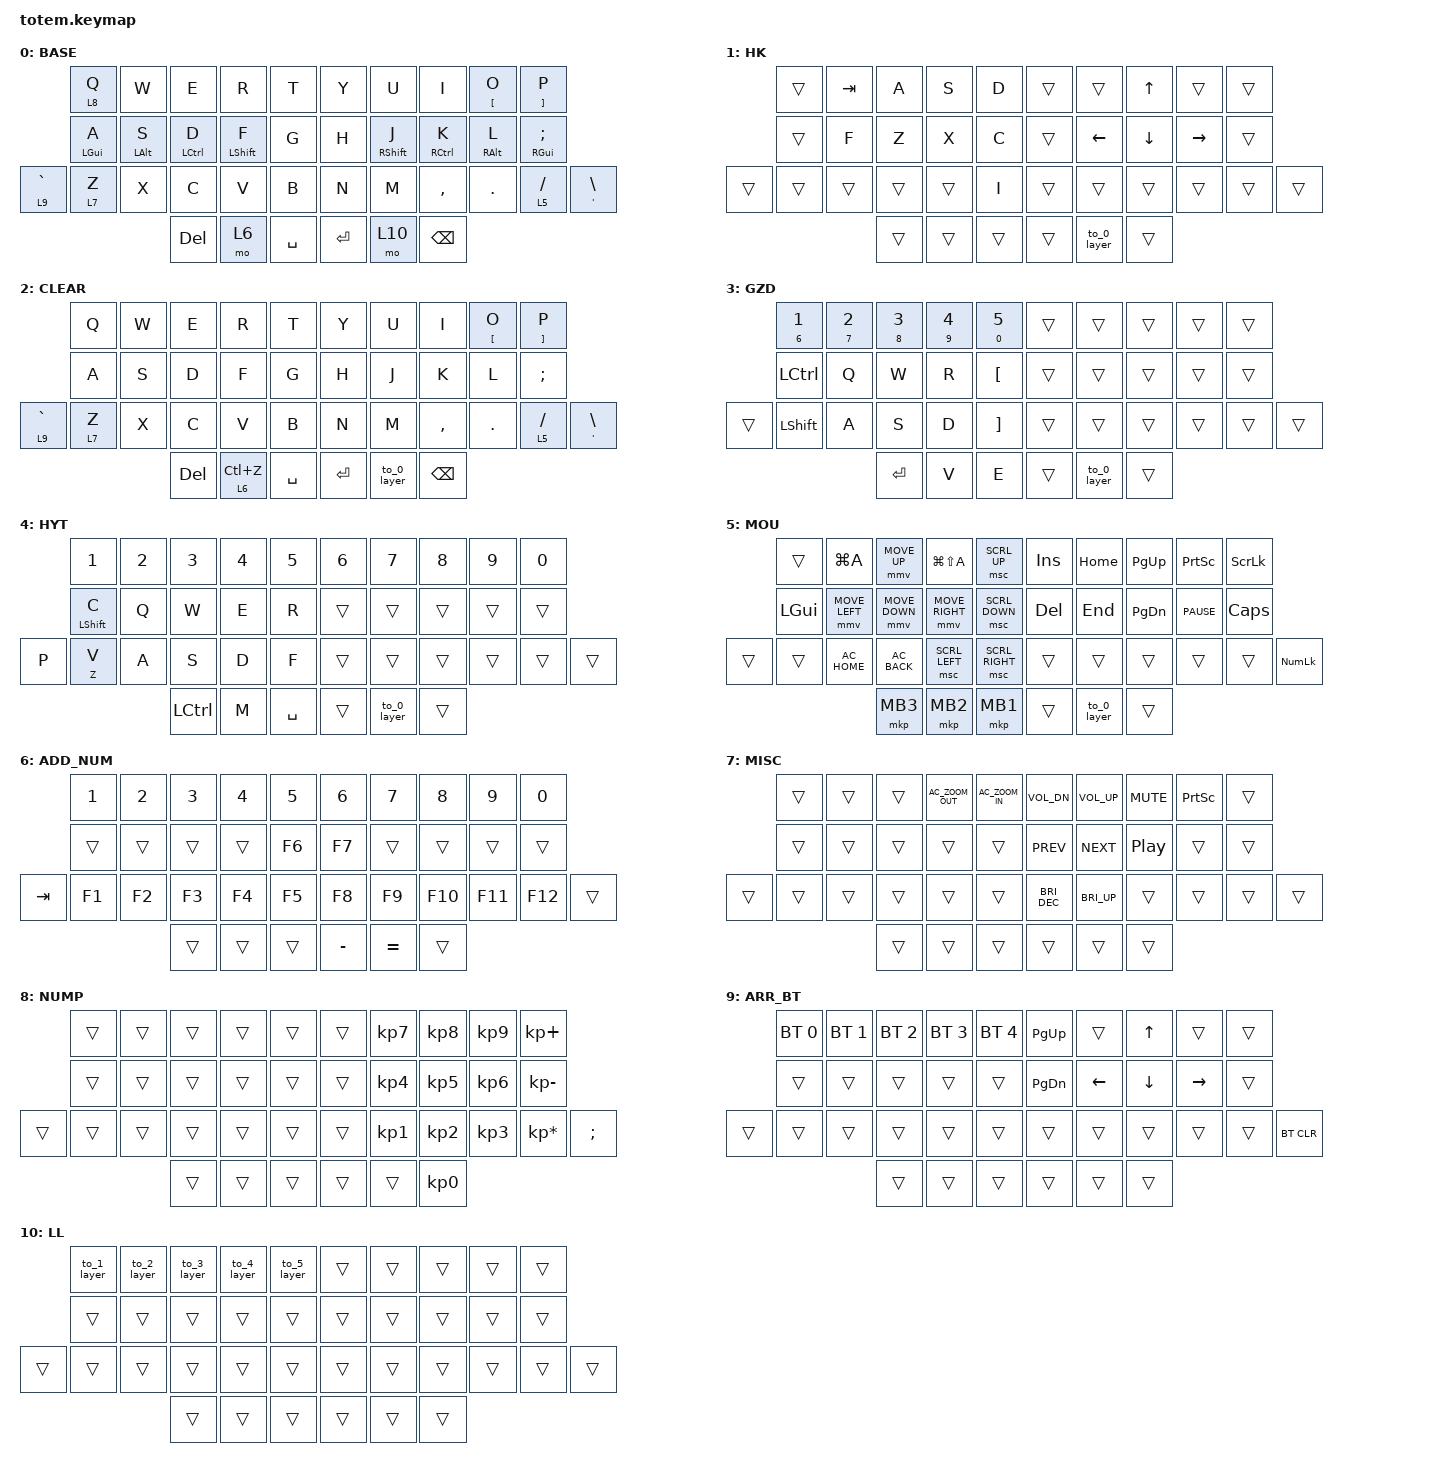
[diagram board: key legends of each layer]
//
//                                                        ▀▀▀▀▀     ▀▀▀▀▀          ▀▀█▀▀
//                                                        ▄▀▀▀▄  ▄  ▄▀▀▀▄  ▄  ▄▀▀▀▄  █  ▄▀▀▀▄
//                                                        █   █  █  █   █  █  █   █  █  █   █
//                                                         ▀▀▀   █   ▀▀▀   █   ▀▀▀   ▀   ▀▀▀
//                                                               █      ▄▄▄█▄▄▄    █   █  
//                                                               ▀      █  █  █     █▄█
//                                                             ▀▀▀▀▀    █  █  █      ▀
//                                                                      ▀  ▀  ▀
//
// ▄▄▄▄▄▄▄▄▄▄▄▄▄▄▄▄▄▄▄▄▄▄▄▄▄▄▄▄▄▄▄▄▄▄▄▄▄▄▄▄▄▄▄▄▄▄▄▄▄▄▄▄▄▄▄▄▄▄▄▄▄▄▄▄▄▄▄▄▄▄▄▄▄▄▄▄▄▄▄▄▄▄▄▄▄▄▄▄▄▄▄▄▄▄▄▄▄▄▄▄▄▄▄▄▄▄▄▄▄▄▄▄▄▄▄▄▄▄▄▄▄▄▄▄▄▄▄▄▄▄▄▄▄▄▄▄▄▄▄▄▄▄▄▄▄▄▄▄▄

#include <behaviors.dtsi>
#include <dt-bindings/zmk/bt.h>
#include <dt-bindings/zmk/keys.h>
#include <dt-bindings/zmk/pointing.h>

#define BASE 0
#define NAV  1
#define SYM  2
#define ADJ  3
#define TVP1 4
#define TVP2 5

&mt {
    quick-tap-ms = <100>;
    global-quick-tap;
    flavor = "tap-preferred";
    tapping-term-ms = <170>;
};

/ {
    combos {
        compatible = "zmk,combos";

        combo_esc {
            timeout-ms = <50>;
            key-positions = <0 1>;
            bindings = <&kp ESC>;
        };

        combo_tvp {
            timeout-ms = <100>;
            key-positions = <11 12 13>;
            bindings = <&to_0_layer>;
        };

        cmb-tab {
            bindings = <&kp TAB>;
            key-positions = <20 10>;
        };

        cmb_- {
            bindings = <&kp MINUS>;
            key-positions = <8 9>;
        };
    };

    macros {
        to_0_layer: to_0_layer {
            compatible = "zmk,behavior-macro";
            #binding-cells = <0>;
            bindings = <&kp LG(F13) &to 0>;
        };

        to_1_layer: to_1_layer {
            compatible = "zmk,behavior-macro";
            #binding-cells = <0>;
            bindings = <&kp LG(F14) &to 1>;
        };

        to_2_layer: to_2_layer {
            compatible = "zmk,behavior-macro";
            #binding-cells = <0>;
            bindings = <&kp LG(F15) &to 2>;
        };

        to_3_layer: to_3_layer {
            compatible = "zmk,behavior-macro";
            #binding-cells = <0>;
            bindings = <&kp LG(F16) &to 3>;
        };

        to_4_layer: to_4_layer {
            compatible = "zmk,behavior-macro";
            #binding-cells = <0>;
            bindings = <&kp LG(F17) &to 4>;
        };

        to_5_layer: to_5_layer {
            compatible = "zmk,behavior-macro";
            #binding-cells = <0>;
            bindings = <&kp LG(F18) &to 5>;
        };

        to_6_layer: to_6_layer {
            compatible = "zmk,behavior-macro";
            #binding-cells = <0>;
            bindings = <&kp LG(F19) &to 0>;
        };

        to_7_layer: to_7_layer {
            compatible = "zmk,behavior-macro";
            #binding-cells = <0>;
            bindings = <&kp F20 &to 0>;
        };

        to_8_layer: to_8_layer {
            compatible = "zmk,behavior-macro";
            #binding-cells = <0>;
            bindings = <&kp F21 &to 0>;
        };

        to_9_layer: to_9_layer {
            compatible = "zmk,behavior-macro";
            #binding-cells = <0>;
            bindings = <&kp F22 &to 0>;
        };
    };

    keymap {
        compatible = "zmk,keymap";

        // ▄▄▄▄▄▄▄▄▄▄▄▄▄▄▄▄▄▄▄▄▄▄▄▄▄▄▄▄▄▄▄▄▄▄▄▄▄▄▄▄▄▄▄▄▄▄▄▄▄▄▄▄▄▄▄▄▄▄▄▄▄▄▄▄▄▄▄▄▄▄▄▄▄▄▄▄▄▄▄▄▄▄▄▄▄▄▄▄▄▄▄▄▄▄▄▄▄▄▄▄▄▄▄▄▄▄▄▄▄▄▄▄▄▄▄▄▄▄▄▄▄▄▄▄▄▄▄▄▄▄▄▄▄▄▄▄▄▄▄▄▄▄▄▄▄▄▄▄▄

        base_layer {
            // ┏━━━━━━━━━━━━━━━━━━━━━━━━━━━━━━━━━━━━━━━┓

            label = "BASE";

            // ┗━━━━━━━━━━━━━━━━━━━━━━━━━━━━━━━━━━━━━━━┛
            //             ┏━━━━━━━━━━━┳━━━━━━━━━━━┳━━━━━━━━━━━┳━━━━━━━━━━━┳━━━━━━━━━━━┓   ┏━━━━━━━━━━━┳━━━━━━━━━━━┳━━━━━━━━━━━┳━━━━━━━━━━━┳━━━━━━━━━━━┓
            //             ┃     Q     ┃     W     ┃     F     ┃     P     ┃     G     ┃   ┃     J     ┃     L     ┃     U     ┃     Y     ┃     ;     ┃
            //             ┣━━━━━━━━━━━╋━━━━━━━━━━━╋━━━━━━━━━━━╋━━━━━━━━━━━╋━━━━━━━━━━━┫   ┣━━━━━━━━━━━╋━━━━━━━━━━━╋━━━━━━━━━━━╋━━━━━━━━━━━╋━━━━━━━━━━━┫
            //             ┃     A     ┃     R     ┃     S     ┃     T     ┃     D     ┃   ┃     H     ┃     N     ┃     E     ┃     I     ┃     O     ┃
            // ┏━━━━━━━━━━━╋━━━━━━━━━━━╋━━━━━━━━━━━╋━━━━━━━━━━━╋━━━━━━━━━━━╋━━━━━━━━━━━┫   ┣━━━━━━━━━━━╋━━━━━━━━━━━╋━━━━━━━━━━━╋━━━━━━━━━━━╋━━━━━━━━━━━╋━━━━━━━━━━━┓
            // ┃     Q     ┃     Z     ┃     X     ┃     C     ┃     V     ┃     B     ┃   ┃     K     ┃     M     ┃     ,     ┃     .     ┃     /     ┃     \     ┃
            // ┗━━━━━━━━━━━┻━━━━━━━━━━━┻━━━━━━━━━━━╋━━━━━━━━━━━╋━━━━━━━━━━━╋━━━━━━━━━━━┫   ┣━━━━━━━━━━━╋━━━━━━━━━━━╋━━━━━━━━━━━╋━━━━━━━━━━━┻━━━━━━━━━━━┻━━━━━━━━━━━┛
            //                                     ┃    DEL    ┃    TAB    ┃    SPC    ┃   ┃   ENTER   ┃           ┃   BSPC    ┃
            //                                     ┗━━━━━━━━━━━┻━━━━━━━━━━━┻━━━━━━━━━━━┛   ┗━━━━━━━━━━━┻━━━━━━━━━━━┻━━━━━━━━━━━┛

            bindings = <
             &lt 8 Q     &kp W       &kp E        &kp R        &kp T        &kp Y      &kp U        &kp I        &mt LEFT_BRACKET O  &mt RIGHT_BRACKET P
             &mt LGUI A  &mt LALT S  &mt LCTRL D  &mt LSHFT F  &kp G        &kp H      &mt RSHFT J  &mt RCTRL K  &mt RALT L          &mt RGUI SEMI
&lt 9 GRAVE  &lt 7 Z     &kp X       &kp C        &kp V        &kp B        &kp N      &kp M        &kp COMMA    &kp DOT             &lt 5 SLASH          &mt SINGLE_QUOTE BACKSLASH
                                     &kp DEL      &mo 6        &kp SPACE    &kp ENTER  &mo 10       &kp BSPC
            >;
        };

        hollow_knight {
            bindings = <
        &trans  &kp TAB  &kp A   &kp S   &kp D     &trans  &trans          &kp UP_ARROW  &trans     &trans
        &trans  &kp F    &kp Z   &kp X   &kp C     &trans  &kp LEFT_ARROW  &kp DOWN      &kp RIGHT  &trans
&trans  &trans  &trans   &trans  &trans  &kp I     &trans  &trans          &trans        &trans     &trans  &trans
                         &trans  &trans  &trans    &trans  &to_0_layer     &trans
            >;

            label = "HK";
        };

        clear {
            label = "CLEAR";
            bindings = <
             &kp Q    &kp W  &kp E    &kp R        &kp T        &kp Y      &kp U        &kp I      &mt LEFT_BRACKET O  &mt RIGHT_BRACKET P
             &kp A    &kp S  &kp D    &kp F        &kp G        &kp H      &kp J        &kp K      &kp L               &kp SEMICOLON
&lt 9 GRAVE  &lt 7 Z  &kp X  &kp C    &kp V        &kp B        &kp N      &kp M        &kp COMMA  &kp DOT             &lt 5 SLASH          &mt SINGLE_QUOTE BACKSLASH
                             &kp DEL  &lt 6 LC(Z)  &kp SPACE    &kp ENTER  &to_0_layer  &kp BSPC
            >;
        };

        gzdoom {
            bindings = <
        &mt NUMBER_6 NUMBER_1  &mt NUMBER_7 NUMBER_2  &mt NUMBER_8 NUMBER_3  &mt NUMBER_9 NUMBER_4  &mt NUMBER_0 NUMBER_5    &trans  &trans       &trans  &trans  &trans
        &kp LCTRL              &kp Q                  &kp W                  &kp R                  &kp LEFT_BRACKET         &trans  &trans       &trans  &trans  &trans
&trans  &kp LSHIFT             &kp A                  &kp S                  &kp D                  &kp RIGHT_BRACKET        &trans  &trans       &trans  &trans  &trans  &trans
                                                      &kp ENTER              &kp V                  &kp E                    &trans  &to_0_layer  &trans
            >;

            label = "GZD";
        };

        hytale {
            // ┏━━━━━━━━━━━━━━━━━━━━━━━━━━━━━━━━━━━━━━━┓

            label = "HYT";

            // ┗━━━━━━━━━━━━━━━━━━━━━━━━━━━━━━━━━━━━━━━┛
            //             ┏━━━━━━━━━━━┳━━━━━━━━━━━┳━━━━━━━━━━━┳━━━━━━━━━━━┳━━━━━━━━━━━┓   ┏━━━━━━━━━━━┳━━━━━━━━━━━┳━━━━━━━━━━━┳━━━━━━━━━━━┳━━━━━━━━━━━┓
            //             ┃   RESET   ┃ BT CLEAR  ┃  OUT TOG  ┃           ┃           ┃   ┃           ┃    F7     ┃    F8     ┃    F9     ┃    F12    ┃
            //             ┣━━━━━━━━━━━╋━━━━━━━━━━━╋━━━━━━━━━━━╋━━━━━━━━━━━╋━━━━━━━━━━━┫   ┣━━━━━━━━━━━╋━━━━━━━━━━━╋━━━━━━━━━━━╋━━━━━━━━━━━╋━━━━━━━━━━━┫
            //             ┃ BOOTLOAD  ┃ BT NEXT   ┃           ┃           ┃           ┃   ┃           ┃    F4     ┃    F5     ┃    F6     ┃    F11    ┃
            // ┏━━━━━━━━━━━╋━━━━━━━━━━━╋━━━━━━━━━━━╋━━━━━━━━━━━╋━━━━━━━━━━━╋━━━━━━━━━━━┫   ┣━━━━━━━━━━━╋━━━━━━━━━━━╋━━━━━━━━━━━╋━━━━━━━━━━━╋━━━━━━━━━━━╋━━━━━━━━━━━┓
            // ┃           ┃           ┃ BT PREV   ┃           ┃           ┃           ┃   ┃           ┃    F1     ┃    F2     ┃    F3     ┃    F10    ┃           ┃
            // ┗━━━━━━━━━━━┻━━━━━━━━━━━┻━━━━━━━━━━━╋━━━━━━━━━━━╋━━━━━━━━━━━╋━━━━━━━━━━━┫   ┣━━━━━━━━━━━╋━━━━━━━━━━━╋━━━━━━━━━━━╋━━━━━━━━━━━┻━━━━━━━━━━━┻━━━━━━━━━━━┛
            //                                     ┃           ┃           ┃           ┃   ┃           ┃           ┃           ┃
            //                                     ┗━━━━━━━━━━━┻━━━━━━━━━━━┻━━━━━━━━━━━┛   ┗━━━━━━━━━━━┻━━━━━━━━━━━┻━━━━━━━━━━━┛

            bindings = <
       &kp N1            &kp N2  &kp N3            &kp N4  &kp N5       &kp N6  &kp N7       &kp N8  &kp N9  &kp N0
       &mt LEFT_SHIFT C  &kp Q   &kp W             &kp E   &kp R        &trans  &trans       &trans  &trans  &trans
&kp P  &mt Z V           &kp A   &kp S             &kp D   &kp F        &trans  &trans       &trans  &trans  &trans  &trans
                                 &kp LEFT_CONTROL  &kp M   &kp SPACE    &trans  &to_0_layer  &trans
            >;
        };

        mouse_layer {
            bindings = <
        &trans        &kp LG(A)       &mmv MOVE_UP    &kp LG(LS(A))    &msc SCRL_UP       &kp INSERT  &kp HOME     &kp PG_UP  &kp PSCRN    &kp SCROLLLOCK
        &kp LEFT_GUI  &mmv MOVE_LEFT  &mmv MOVE_DOWN  &mmv MOVE_RIGHT  &msc SCRL_DOWN     &kp DEL     &kp END      &kp PG_DN  &kp C_PAUSE  &kp CLCK
&trans  &trans        &kp C_AC_HOME   &kp C_AC_BACK   &msc SCRL_LEFT   &msc SCRL_RIGHT    &trans      &trans       &trans     &trans       &trans          &kp KP_NUMLOCK
                                      &mkp MB3        &mkp MB2         &mkp MB1           &trans      &to_0_layer  &trans
            >;

            label = "MOU";
        };

        additional_numeric {
            bindings = <
         &kp N1  &kp N2  &kp N3  &kp N4  &kp N5    &kp N6     &kp N7     &kp N8   &kp N9   &kp N0
         &trans  &trans  &trans  &trans  &kp F6    &kp F7     &trans     &trans   &trans   &trans
&kp TAB  &kp F1  &kp F2  &kp F3  &kp F4  &kp F5    &kp F8     &kp F9     &kp F10  &kp F11  &kp F12  &trans
                         &trans  &trans  &trans    &kp MINUS  &kp EQUAL  &trans
            >;

            label = "ADD_NUM";
        };

        misc {
            bindings = <
        &trans  &trans  &trans  &kp C_AC_ZOOM_OUT  &kp C_AC_ZOOM_IN    &kp C_VOL_DN          &kp C_VOL_UP  &kp C_MUTE        &kp PRINTSCREEN  &trans
        &trans  &trans  &trans  &trans             &trans              &kp C_PREV            &kp C_NEXT    &kp C_PLAY_PAUSE  &trans           &trans
&trans  &trans  &trans  &trans  &trans             &trans              &kp C_BRIGHTNESS_DEC  &kp C_BRI_UP  &trans            &trans           &trans  &trans
                        &trans  &trans             &trans              &trans                &trans        &trans
            >;

            label = "MISC";
        };

        numpad {
            label = "NUMP";
            bindings = <
        &trans  &trans  &trans  &trans  &trans    &trans  &kp KP_N7  &kp KP_N8        &kp KP_N9  &kp KP_PLUS
        &trans  &trans  &trans  &trans  &trans    &trans  &kp KP_N4  &kp KP_N5        &kp KP_N6  &kp KP_MINUS
&trans  &trans  &trans  &trans  &trans  &trans    &trans  &kp KP_N1  &kp KP_N2        &kp KP_N3  &kp KP_MULTIPLY  &kp SEMI
                        &trans  &trans  &trans    &trans  &trans     &kp KP_NUMBER_0
            >;
        };

        arrows_bt_profiles {
            bindings = <
        &bt BT_SEL 0  &bt BT_SEL 1  &bt BT_SEL 2  &bt BT_SEL 3  &bt BT_SEL 4    &kp PG_UP  &trans    &kp UP_ARROW  &trans     &trans
        &trans        &trans        &trans        &trans        &trans          &kp PG_DN  &kp LEFT  &kp DOWN      &kp RIGHT  &trans
&trans  &trans        &trans        &trans        &trans        &trans          &trans     &trans    &trans        &trans     &trans  &bt BT_CLR
                                    &trans        &trans        &trans          &trans     &trans    &trans
            >;

            label = "ARR_BT";
        };

        layers_layer {
            bindings = <
        &to_1_layer  &to_2_layer  &to_3_layer  &to_4_layer  &to_5_layer    &trans  &trans  &trans  &trans  &trans
        &trans       &trans       &trans       &trans       &trans         &trans  &trans  &trans  &trans  &trans
&trans  &trans       &trans       &trans       &trans       &trans         &trans  &trans  &trans  &trans  &trans  &trans
                                  &trans       &trans       &trans         &trans  &trans  &trans
            >;

            label = "LL";
        };
    };
};
